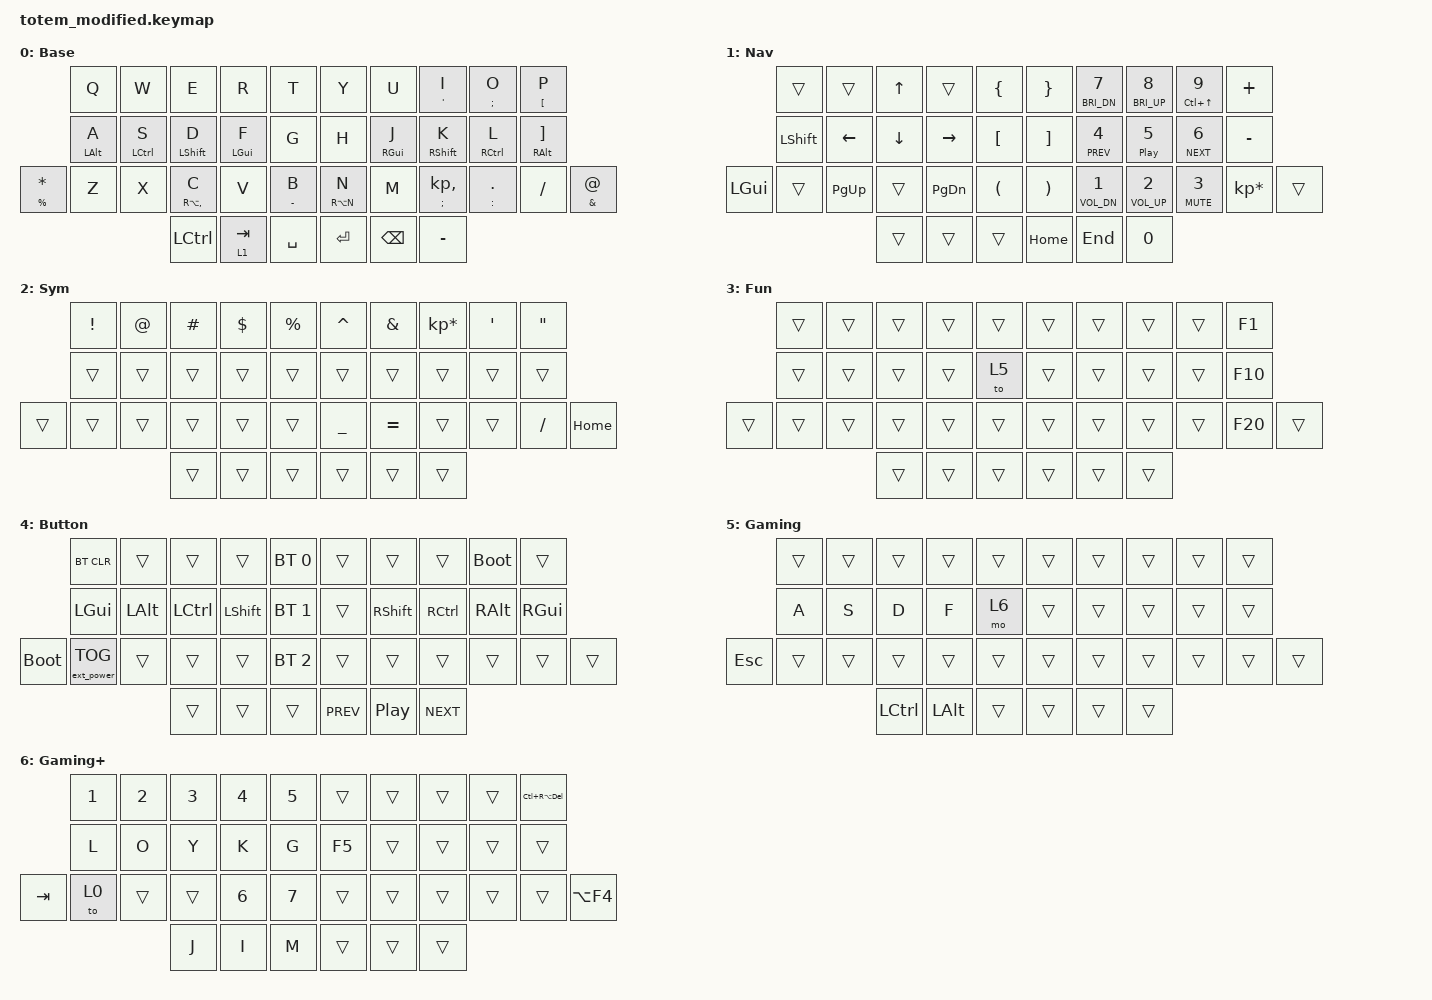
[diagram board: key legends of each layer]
//
//                                                        ▀▀▀▀▀     ▀▀▀▀▀          ▀▀█▀▀
//                                                        ▄▀▀▀▄  ▄  ▄▀▀▀▄  ▄  ▄▀▀▀▄  █  ▄▀▀▀▄
//                                                        █   █  █  █   █  █  █   █  █  █   █
//                                                         ▀▀▀   █   ▀▀▀   █   ▀▀▀   ▀   ▀▀▀
//                                                               █      ▄▄▄█▄▄▄    █   █  
//                                                               ▀      █  █  █     █▄█
//                                                             ▀▀▀▀▀    █  █  █      ▀
//                                                                      ▀  ▀  ▀
//
// ▄▄▄▄▄▄▄▄▄▄▄▄▄▄▄▄▄▄▄▄▄▄▄▄▄▄▄▄▄▄▄▄▄▄▄▄▄▄▄▄▄▄▄▄▄▄▄▄▄▄▄▄▄▄▄▄▄▄▄▄▄▄▄▄▄▄▄▄▄▄▄▄▄▄▄▄▄▄▄▄▄▄▄▄▄▄▄▄▄▄▄▄▄▄▄▄▄▄▄▄▄▄▄▄▄▄▄▄▄▄▄▄▄▄▄▄▄▄▄▄▄▄▄▄▄▄▄▄▄▄▄▄▄▄▄▄▄▄▄▄▄▄▄▄▄▄▄▄▄

#include <behaviors.dtsi>
#include <dt-bindings/zmk/bt.h>
#include <dt-bindings/zmk/ext_power.h>
#include <dt-bindings/zmk/keys.h>

#define Base        0
#define Media       1
#define Nav         2
#define Mouse       3
#define Sym         4
#define Num         5
#define Fun         6
#define Button      7
#define Game        8
#define Gameplus    9

&mt {
    quick-tap-ms = <100>;
    global-quick-tap;
    flavor = "tap-preferred";
    tapping-term-ms = <170>;
};

&lt {
    tapping-term-ms = <240>;
    flavor = "balanced";
    quick-tap-ms = <150>;
};

/ {
    behaviors {
        hm: homerow_mods {
            compatible = "zmk,behavior-hold-tap";
            label = "HOMEROW_MODS";
            #binding-cells = <2>;
            flavor = "tap-preferred";
            tapping-term-ms = <200>;
            quick-tap-ms = <125>;
            global-quick-tap;
            bindings = <&kp>, <&kp>;
        };
    };

    combos {
        compatible = "zmk,combos";

        parentesis_izquierdo {
            bindings = <&kp LEFT_PARENTHESIS>;
            key-positions = <12 28>;
        };

        parentesis_izquierdo2 {
            bindings = <&kp LEFT_PARENTHESIS>;
            key-positions = <17 28>;
        };

        parentesis_derecho {
            bindings = <&kp RIGHT_PARENTHESIS>;
            key-positions = <12 29>;
        };

        parentesis_derecho2 {
            bindings = <&kp RIGHT_PARENTHESIS>;
            key-positions = <29 17>;
        };
    };

    keymap {
        compatible = "zmk,keymap";

        Base {
            label = "Base";
            bindings = <
                      &kp Q       &kp W               &kp E            &kp R           &kp T          &kp Y        &kp U            &mt SQT I          &mt SEMI O        &mt LBKT P
                      &hm LALT A  &hm LEFT_CONTROL S  &hm LSHIFT D     &hm LEFT_GUI F  &kp G          &kp H        &hm RIGHT_GUI J  &hm RSHIFT K       &hm RCTRL L       &hm RIGHT_ALT RIGHT_BRACKET
&mt PERCENT ASTERISK  &kp Z       &kp X               &mt RA(COMMA) C  &kp V           &mt MINUS B    &mt RA(N) N  &kp M            &mt SEMI KP_COMMA  &mt COLON PERIOD  &kp SLASH                    &mt AMPS AT_SIGN
                                                      &kp LCTRL        &lt 1 TAB       &kp SPACE      &kp RET      &kp BACKSPACE    &kp MINUS
            >;
        };

        Nav {
            label = "Nav";
            bindings = <
              &trans          &trans       &kp UP_ARROW  &trans     &kp LBRC    &kp RBRC  &mt C_BRI_DN NUMBER_7  &mt C_BRI_UP NUMBER_8      &mt LC(UP) NUMBER_9  &kp PLUS
              &kp LEFT_SHIFT  &kp LEFT     &kp DOWN      &kp RIGHT  &kp LBKT    &kp RBKT  &mt C_PREV NUMBER_4    &mt C_PLAY_PAUSE NUMBER_5  &mt C_NEXT NUMBER_6    &kp MINUS
&kp LEFT_GUI  &trans          &kp PAGE_UP  &trans        &kp PG_DN  &kp LPAR    &kp RPAR  &mt C_VOL_DN NUMBER_1  &mt C_VOL_UP NUMBER_2      &mt C_MUTE NUMBER_3    &kp KP_MULTIPLY  &trans
                                           &trans        &trans     &trans      &kp HOME  &kp END                &kp NUMBER_0
            >;
        };

        Sym {
            label = "Sym";
            bindings = <
        &kp EXCL  &kp AT  &kp HASH  &kp DOLLAR  &kp PERCENT    &kp CARET  &kp AMPERSAND  &kp KP_ASTERISK  &kp SQT  &kp DQT
        &trans    &trans  &trans    &trans      &trans         &trans     &trans         &trans           &trans   &trans
&trans  &trans    &trans  &trans    &trans      &trans         &kp UNDER  &kp EQUAL      &trans           &trans   &kp SLASH  &kp HOME
                          &trans    &trans      &trans         &trans     &trans         &trans
            >;
        };

        Fun {
            label = "Fun";
            bindings = <
        &trans  &trans  &trans  &trans  &trans    &trans  &trans  &trans  &trans  &kp F1
        &trans  &trans  &trans  &trans  &to 5     &trans  &trans  &trans  &trans  &kp F10
&trans  &trans  &trans  &trans  &trans  &trans    &trans  &trans  &trans  &trans  &kp F20  &trans
                        &trans  &trans  &trans    &trans  &trans  &trans
            >;
        };

        Button {
            label = "Button";
            bindings = <
             &bt BT_CLR         &trans    &trans     &trans      &bt BT_SEL 0    &trans      &trans            &trans      &bootloader  &trans
             &kp LGUI           &kp LALT  &kp LCTRL  &kp LSHIFT  &bt BT_SEL 1    &trans      &kp RSHIFT        &kp RCTRL   &kp RALT     &kp RGUI
&bootloader  &ext_power EP_TOG  &trans    &trans     &trans      &bt BT_SEL 2    &trans      &trans            &trans      &trans       &trans    &trans
                                          &trans     &trans      &trans          &kp C_PREV  &kp C_PLAY_PAUSE  &kp C_NEXT
            >;
        };

        Gaming {
            bindings = <
            &trans  &trans  &trans     &trans        &trans    &trans  &trans  &trans  &trans  &trans
            &kp A   &kp S   &kp D      &kp F         &mo 6     &trans  &trans  &trans  &trans  &trans
&kp ESCAPE  &trans  &trans  &trans     &trans        &trans    &trans  &trans  &trans  &trans  &trans  &trans
                            &kp LCTRL  &kp LEFT_ALT  &trans    &trans  &trans  &trans
            >;

            label = "Gaming";
        };

        Gaming+ {
            bindings = <
         &kp NUMBER_1  &kp NUMBER_2  &kp NUMBER_3  &kp NUMBER_4  &kp NUMBER_5    &trans  &trans  &trans  &trans  &kp LC(RA(DEL))
         &kp L         &kp O         &kp Y         &kp K         &kp G           &kp F5  &trans  &trans  &trans  &trans
&kp TAB  &to 0         &trans        &trans        &kp NUMBER_6  &kp NUMBER_7    &trans  &trans  &trans  &trans  &trans           &kp LA(F4)
                                     &kp J         &kp I         &kp M           &trans  &trans  &trans
            >;

            label = "Gaming+";
        };
    };
};
